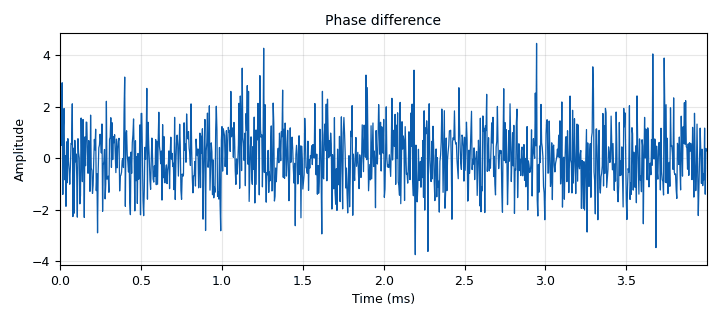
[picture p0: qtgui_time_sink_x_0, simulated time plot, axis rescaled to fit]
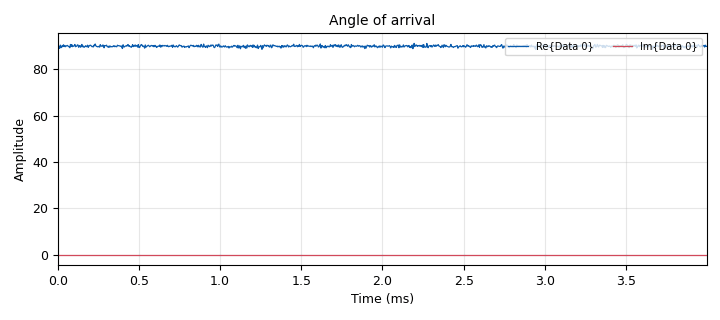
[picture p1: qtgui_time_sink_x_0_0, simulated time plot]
<?xml version='1.0' encoding='utf-8'?>
<?grc format='1' created='3.7.13'?>
<flow_graph>
<block>
<key>options</key>
<param><key>id</key><value>top_block</value></param>
<param><key>generate_options</key><value>qt_gui</value></param>
</block>
<block>
<key>variable</key>
<param><key>id</key><value>c</value></param>
<param><key>value</key><value>299792458</value></param>
</block>
<block>
<key>variable</key>
<param><key>id</key><value>carrier_freq</value></param>
<param><key>value</key><value>2.421e9</value></param>
</block>
<block>
<key>variable</key>
<param><key>id</key><value>d</value></param>
<param><key>value</key><value>0.0619</value></param>
</block>
<block>
<key>variable_qtgui_range</key>
<param><key>id</key><value>delay_value</value></param>
<param><key>value</key><value>0</value></param>
<param><key>orient</key><value>Qt.Horizontal</value></param>
<param><key>start</key><value>0</value></param>
<param><key>step</key><value>1</value></param>
<param><key>stop</key><value>100</value></param>
<param><key>rangeType</key><value>int</value></param>
<param><key>widget</key><value>counter</value></param>
</block>
<block>
<key>variable</key>
<param><key>id</key><value>frequency</value></param>
<param><key>value</key><value>2e3</value></param>
</block>
<block>
<key>variable</key>
<param><key>id</key><value>gain</value></param>
<param><key>value</key><value>20</value></param>
</block>
<block>
<key>variable</key>
<param><key>id</key><value>noise_amp</value></param>
<param><key>value</key><value>0.02</value></param>
</block>
<block>
<key>variable</key>
<param><key>id</key><value>pi</value></param>
<param><key>value</key><value>3.1416</value></param>
</block>
<block>
<key>variable</key>
<param><key>id</key><value>samp_rate</value></param>
<param><key>value</key><value>256e3</value></param>
</block>
<block>
<key>analog_fastnoise_source_x</key>
<param><key>id</key><value>analog_fastnoise_source_x_0</value></param>
<param><key>amp</key><value>noise_amp</value></param>
<param><key>noise_type</key><value>analog.GR_GAUSSIAN</value></param>
<param><key>type</key><value>complex</value></param>
<param><key>seed</key><value>30</value></param>
<param><key>samples</key><value>8192</value></param>
</block>
<block>
<key>analog_fastnoise_source_x</key>
<param><key>id</key><value>analog_fastnoise_source_x_0_0</value></param>
<param><key>amp</key><value>noise_amp</value></param>
<param><key>noise_type</key><value>analog.GR_GAUSSIAN</value></param>
<param><key>type</key><value>complex</value></param>
<param><key>seed</key><value>1</value></param>
<param><key>samples</key><value>8192</value></param>
</block>
<block>
<key>analog_sig_source_x</key>
<param><key>id</key><value>analog_sig_source_x_0</value></param>
<param><key>amp</key><value>1</value></param>
<param><key>freq</key><value>frequency</value></param>
<param><key>offset</key><value>0</value></param>
<param><key>type</key><value>complex</value></param>
<param><key>samp_rate</key><value>samp_rate</value></param>
<param><key>waveform</key><value>analog.GR_COS_WAVE</value></param>
</block>
<block>
<key>analog_sig_source_x</key>
<param><key>id</key><value>analog_sig_source_x_0_0</value></param>
<param><key>amp</key><value>1</value></param>
<param><key>freq</key><value>frequency</value></param>
<param><key>offset</key><value>0</value></param>
<param><key>type</key><value>complex</value></param>
<param><key>samp_rate</key><value>samp_rate</value></param>
<param><key>waveform</key><value>analog.GR_COS_WAVE</value></param>
</block>
<block>
<key>blocks_add_xx</key>
<param><key>id</key><value>blocks_add_xx_0</value></param>
<param><key>type</key><value>complex</value></param>
</block>
<block>
<key>blocks_add_xx</key>
<param><key>id</key><value>blocks_add_xx_0_0</value></param>
<param><key>type</key><value>complex</value></param>
</block>
<block>
<key>blocks_complex_to_arg</key>
<param><key>id</key><value>blocks_complex_to_arg_0</value></param>
</block>
<block>
<key>blocks_delay</key>
<param><key>id</key><value>blocks_delay_0</value></param>
<param><key>delay</key><value>delay_value</value></param>
<param><key>type</key><value>complex</value></param>
</block>
<block>
<key>blocks_multiply_conjugate_cc</key>
<param><key>id</key><value>blocks_multiply_conjugate_cc_0</value></param>
</block>
<block>
<key>blocks_multiply_const_vxx</key>
<param><key>id</key><value>blocks_multiply_const_vxx_0</value></param>
<param><key>const</key><value>c/(2*pi*carrier_freq*d)</value></param>
<param><key>type</key><value>float</value></param>
</block>
<block>
<key>blocks_multiply_const_vxx</key>
<param><key>id</key><value>blocks_multiply_const_vxx_0_0</value></param>
<param><key>const</key><value>180/pi</value></param>
<param><key>type</key><value>complex</value></param>
</block>
<block>
<key>blocks_multiply_const_vxx</key>
<param><key>id</key><value>blocks_multiply_const_vxx_0_0_0</value></param>
<param><key>const</key><value>180/pi</value></param>
<param><key>type</key><value>float</value></param>
</block>
<block>
<key>epy_block</key>
<param><key>id</key><value>epy_block_0</value></param>
<param><key>_source_code</key><value>"""
Embedded Python Blocks:

Each time this file is saved, GRC will instantiate the first class it finds
to get ports and parameters of your block. The arguments to __init__  will
be the parameters. All of them are required to have default values!
"""

import numpy as np
from gnuradio import gr


class blk(gr.sync_block):  # other base classes are basic_block, decim_block, interp_block
    """Embedded Python Block example - a simple multiply const"""

    def __init__(self):  # only default arguments here
        """arguments to this function show up as parameters in GRC"""
        gr.sync_block.__init__(
            self,
            name='Complex Inverse Cosine',   # will show up in GRC
            in_sig=[np.float32],
            out_sig=[np.complex64]
        )
        # if an attribute with the same name as a parameter is found,
        # a callback is registered (properties work, too).

    def work(self, input_items, output_items):
        """example: multiply with constant"""
        output_items[0][:] = np.arccos(np.complex64(input_items[0]))
        return len(output_items[0])
</value></param>
</block>
<block>
<key>qtgui_time_sink_x</key>
<param><key>id</key><value>qtgui_time_sink_x_0</value></param>
<param><key>grid</key><value>True</value></param>
<param><key>color1</key><value>"blue"</value></param>
<param><key>label1</key><value></value></param>
<param><key>name</key><value>"Phase difference"</value></param>
<param><key>size</key><value>1024</value></param>
<param><key>srate</key><value>samp_rate</value></param>
<param><key>type</key><value>float</value></param>
<param><key>yunit</key><value>"deg"</value></param>
<param><key>ymax</key><value>+180</value></param>
<param><key>ymin</key><value>-180</value></param>
</block>
<block>
<key>qtgui_time_sink_x</key>
<param><key>id</key><value>qtgui_time_sink_x_0_0</value></param>
<param><key>autoscale</key><value>True</value></param>
<param><key>grid</key><value>True</value></param>
<param><key>color1</key><value>"blue"</value></param>
<param><key>label1</key><value></value></param>
<param><key>color2</key><value>"red"</value></param>
<param><key>label2</key><value></value></param>
<param><key>name</key><value>"Angle of arrival"</value></param>
<param><key>size</key><value>1024</value></param>
<param><key>srate</key><value>samp_rate</value></param>
<param><key>type</key><value>complex</value></param>
<param><key>yunit</key><value>"deg"</value></param>
<param><key>ymax</key><value>+pi</value></param>
<param><key>ymin</key><value>-pi</value></param>
</block>
<connection><source_block_id>analog_fastnoise_source_x_0</source_block_id><sink_block_id>blocks_add_xx_0</sink_block_id><source_key>0</source_key><sink_key>0</sink_key></connection>
<connection><source_block_id>analog_fastnoise_source_x_0_0</source_block_id><sink_block_id>blocks_add_xx_0_0</sink_block_id><source_key>0</source_key><sink_key>1</sink_key></connection>
<connection><source_block_id>analog_sig_source_x_0</source_block_id><sink_block_id>blocks_add_xx_0</sink_block_id><source_key>0</source_key><sink_key>1</sink_key></connection>
<connection><source_block_id>analog_sig_source_x_0_0</source_block_id><sink_block_id>blocks_add_xx_0_0</sink_block_id><source_key>0</source_key><sink_key>0</sink_key></connection>
<connection><source_block_id>blocks_add_xx_0</source_block_id><sink_block_id>blocks_multiply_conjugate_cc_0</sink_block_id><source_key>0</source_key><sink_key>0</sink_key></connection>
<connection><source_block_id>blocks_add_xx_0_0</source_block_id><sink_block_id>blocks_delay_0</sink_block_id><source_key>0</source_key><sink_key>0</sink_key></connection>
<connection><source_block_id>blocks_complex_to_arg_0</source_block_id><sink_block_id>blocks_multiply_const_vxx_0</sink_block_id><source_key>0</source_key><sink_key>0</sink_key></connection>
<connection><source_block_id>blocks_complex_to_arg_0</source_block_id><sink_block_id>blocks_multiply_const_vxx_0_0_0</sink_block_id><source_key>0</source_key><sink_key>0</sink_key></connection>
<connection><source_block_id>blocks_delay_0</source_block_id><sink_block_id>blocks_multiply_conjugate_cc_0</sink_block_id><source_key>0</source_key><sink_key>1</sink_key></connection>
<connection><source_block_id>blocks_multiply_conjugate_cc_0</source_block_id><sink_block_id>blocks_complex_to_arg_0</sink_block_id><source_key>0</source_key><sink_key>0</sink_key></connection>
<connection><source_block_id>blocks_multiply_const_vxx_0</source_block_id><sink_block_id>epy_block_0</sink_block_id><source_key>0</source_key><sink_key>0</sink_key></connection>
<connection><source_block_id>blocks_multiply_const_vxx_0_0</source_block_id><sink_block_id>qtgui_time_sink_x_0_0</sink_block_id><source_key>0</source_key><sink_key>0</sink_key></connection>
<connection><source_block_id>blocks_multiply_const_vxx_0_0_0</source_block_id><sink_block_id>qtgui_time_sink_x_0</sink_block_id><source_key>0</source_key><sink_key>0</sink_key></connection>
<connection><source_block_id>epy_block_0</source_block_id><sink_block_id>blocks_multiply_const_vxx_0_0</sink_block_id><source_key>0</source_key><sink_key>0</sink_key></connection>
</flow_graph>
